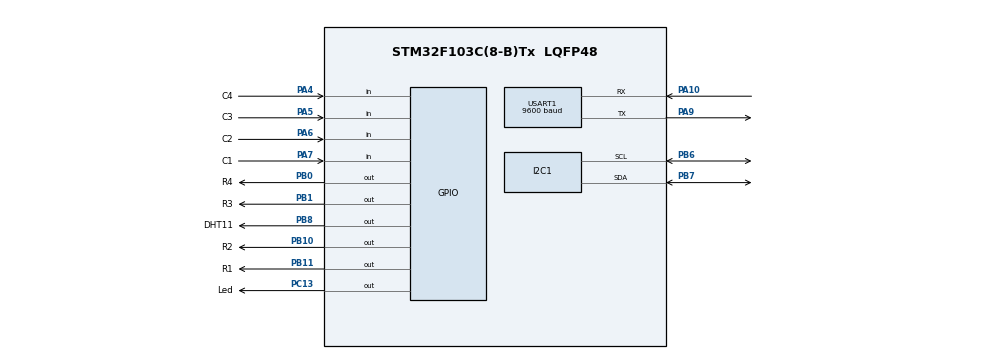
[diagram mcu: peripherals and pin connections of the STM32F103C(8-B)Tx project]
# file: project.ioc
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Mcu.Family=STM32F1
Mcu.Name=STM32F103C(8-B)Tx
Mcu.Package=LQFP48
NVIC.PriorityGroup=NVIC_PRIORITYGROUP_4
NVIC.TIM2_IRQn=true\:2\:0\:true\:false\:true\:true\:true\:true
NVIC.USART1_IRQn=true\:1\:0\:true\:false\:true\:true\:true\:true
PA10.Mode=Asynchronous
PA10.Signal=USART1_RX
PA13.Mode=Serial_Wire
PA13.Signal=SYS_JTMS-SWDIO
PA14.Mode=Serial_Wire
PA14.Signal=SYS_JTCK-SWCLK
PA4.GPIO_Label=C4
PA4.GPIO_PuPd=GPIO_PULLUP
PA4.Signal=GPIO_Input
PA5.GPIO_Label=C3
PA5.GPIO_PuPd=GPIO_PULLUP
PA5.Signal=GPIO_Input
PA6.GPIO_Label=C2
PA6.GPIO_PuPd=GPIO_PULLUP
PA6.Signal=GPIO_Input
PA7.GPIO_Label=C1
PA7.GPIO_PuPd=GPIO_PULLUP
PA7.Signal=GPIO_Input
PA9.Mode=Asynchronous
PA9.Signal=USART1_TX
PB0.GPIO_Label=R4
PB0.GPIO_ModeDefaultOutputPP=GPIO_MODE_OUTPUT_PP
PB0.GPIO_PuPd=GPIO_PULLUP
PB0.Signal=GPIO_Output
PB1.GPIO_Label=R3
PB1.GPIO_PuPd=GPIO_PULLUP
PB1.Signal=GPIO_Output
PB10.GPIO_Label=R2
PB10.GPIO_PuPd=GPIO_PULLUP
PB10.Signal=GPIO_Output
PB11.GPIO_Label=R1
PB11.GPIO_PuPd=GPIO_PULLUP
PB11.Signal=GPIO_Output
PB6.GPIO_Pu=GPIO_PULLUP
PB6.Mode=I2C
PB6.Signal=I2C1_SCL
PB7.GPIO_Pu=GPIO_PULLUP
PB7.Mode=I2C
PB7.Signal=I2C1_SDA
PB8.GPIO_Label=DHT11
PB8.GPIO_ModeDefaultOutputPP=GPIO_MODE_OUTPUT_PP
PB8.GPIO_PuPd=GPIO_PULLUP
PB8.PinState=GPIO_PIN_SET
PB8.Signal=GPIO_Output
PC13-TAMPER-RTC.GPIO_Label=Led
PC13-TAMPER-RTC.GPIO_ModeDefaultOutputPP=GPIO_MODE_OUTPUT_PP
PC13-TAMPER-RTC.GPIO_PuPd=GPIO_PULLUP
PC13-TAMPER-RTC.PinState=GPIO_PIN_SET
PC13-TAMPER-RTC.Signal=GPIO_Output
PD0-OSC_IN.Mode=HSE-External-Clock-Source
PD0-OSC_IN.Signal=RCC_OSC_IN
PD1-OSC_OUT.Mode=HSE-External-Clock-Source
PD1-OSC_OUT.Signal=RCC_OSC_OUT
ProjectManager.HeapSize=0x200
ProjectManager.StackSize=0x400
ProjectManager.TargetToolchain=MDK-ARM V5.27
RCC.APB1Freq_Value=8000000
RCC.APB2Freq_Value=8000000
RCC.SYSCLKSource=RCC_SYSCLKSOURCE_PLLCLK
TIM1.Period=0xFFFF-1
TIM1.Prescaler=7
TIM2.Period=499
TIM2.Prescaler=7999
USART1.BaudRate=9600
USART1.VirtualMode=VM_ASYNC
VP_TIM1_VS_ClockSourceINT.Mode=Internal
VP_TIM2_VS_ClockSourceINT.Mode=Internal
board=custom

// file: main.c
/* USER CODE BEGIN Header */
/**
  ******************************************************************************
  * @file           : main.c
  * @brief          : Main program body
  ******************************************************************************
  * @attention
  *
  * <h2><center>&copy; Copyright (c) 2021 STMicroelectronics.
  * All rights reserved.</center></h2>
  *
  * This software component is licensed by ST under BSD 3-Clause license,
  * the "License"; You may not use this file except in compliance with the
  * License. You may obtain a copy of the License at:
  *                        opensource.org/licenses/BSD-3-Clause
  *
  ******************************************************************************
  */
/* USER CODE END Header */
#include "main.h"
#include "i2c.h"
#include "tim.h"
#include "usart.h"
#include "gpio.h"

/* USER CODE BEGIN Includes */
#include "matrix4x4.h"
#include "LCD.h"
#include "Sim800L.h"
#include "dht.h"
/* USER CODE END Includes */

/* USER CODE BEGIN PD */
#define ADJUST 'A'
#define RESET 'B'
#define CORRECT 'C'
#define DELETE 'D'
/* USER CODE END PD */

/* USER CODE BEGIN PV */
extern CLCD_I2C_Name LCD1;
unsigned char button;

uint8_t Rh_byte1,Rh_byte2, Temp_byte1,Temp_byte2;
uint8_t SUM,RH,TEMP;
float Temperature ;
float Humidity;

uint16_t Rx_Data[1]; // bien chua du lieu tu flash
FLASH_EraseInitTypeDef EraseInitStruct; // struct cau hЛnh xСa du lieu
uint32_t PAGEError;  // bien chua dia chi loi

uint8_t StateLED;

uint8_t TempWarn =100;
char TempSet[4];
uint8_t count=0;
uint8_t SettingFlag= 0;

uint8_t StatusFlag =0;
uint8_t hold=0;

uint8_t KnewFlag=0;
uint16_t KnewCount =0;

/* USER CODE END PV */

void SystemClock_Config(void);
/* USER CODE BEGIN PFP */
char  Transfer_cplt2;
char Rx_Buffer2[SIMCOM_DATA_IN_MAX_SIZE];
/* USER CODE END PFP */

/* USER CODE BEGIN 0 */
void HAL_UART_RxCpltCallback(UART_HandleTypeDef *huart)
{
	if (huart-> Instance == USART1) // UART hien tai la uart1 SIM
	{
		simcom_receive_data_it();
	}
}
void DelLineLCD( char y)
{
	CLCD_I2C_SetCursor(&LCD1, 0, y);
	for (uint8_t i=0;i<20;i++)
	{
		CLCD_I2C_SetCursor(&LCD1, i, y);
		CLCD_I2C_WriteString(&LCD1," ");
	}
}
void SimWarn()
{
		if (Sim_init()==1)
		{
			if		(Sim_SendCommand("ATD0964121702;\r\n","OK",3000) == 1)
			{
					DelLineLCD(2);
					CLCD_I2C_SetCursor(&LCD1,0,2);
					CLCD_I2C_WriteString(&LCD1,"Status: Warning...");
					uint32_t time = HAL_GetTick();
					while (HAL_GetTick() - time < 30000)
					{
						if(strstr((char*)Rx_Buffer2,"BUSY")!=NULL)
						{
							DelLineLCD(2);
							CLCD_I2C_SetCursor(&LCD1,0,2);
							CLCD_I2C_WriteString(&LCD1,"Status: BUSY");
							break;
						}
						if(strstr((char*)Rx_Buffer2,"NO CARRIER")!=NULL)
						{
							DelLineLCD(2);
							CLCD_I2C_SetCursor(&LCD1,0,2);
							CLCD_I2C_WriteString(&LCD1,"Status: NO CARRIER");
							break;
						}
						if(strstr((char*)Rx_Buffer2,"NO ANSWER")!=NULL)
						{
							DelLineLCD(2);
							CLCD_I2C_SetCursor(&LCD1,0,2);
							CLCD_I2C_WriteString(&LCD1,"Status: NO ANSWER");
							break;
						}
						if(strstr((char*)Rx_Buffer2,"NO DIALTONE")!=NULL)
						{
							DelLineLCD(2);
							CLCD_I2C_SetCursor(&LCD1,0,2);
							CLCD_I2C_WriteString(&LCD1,"Status:NO DIALTONE");
							break;
						}
					}
					HAL_Delay(1000);
			}
		}
}
void ProcessButton()
{
	if (button==ADJUST)
	{
		CLCD_I2C_SetCursor(&LCD1,8,1);
		CLCD_I2C_BlinkOn(&LCD1);
		SettingFlag =1;
	}
	else if (button==DELETE)
	{
		if (count >0)
		{
			count--;
			TempSet[count]='\0';
			DelLineLCD(1);
			CLCD_I2C_SetCursor(&LCD1,0,1);
			CLCD_I2C_WriteString(&LCD1,"TempSet:");
			char *k=TempSet;
			CLCD_I2C_WriteString(&LCD1,k);
		}
	}
	else if (button==RESET)
	{
		count=0;
		for (uint8_t i=0; i<4;i++) TempSet[i]=0;
		DelLineLCD(1);
		CLCD_I2C_SetCursor(&LCD1,0,1);
		CLCD_I2C_WriteString(&LCD1,"TempSet:");
		DeleDatain();
	}
	else if (button==CORRECT)
	{
		if (count>0)
		{
			CLCD_I2C_BlinkOff(&LCD1);
			switch(count)
			{
				case 1: TempWarn = TempSet[0]-48; break;
				case 2: TempWarn = (TempSet[0]-48)*10+(TempSet[1]-48); break;
				case 3: TempWarn = (TempSet[0]-48)*100+(TempSet[1]-48)*10+TempSet[2]-48; break;
				default:	break;
			}
			CLCD_I2C_BlinkOff(&LCD1);
			SettingFlag=0;
		}
	}
	else
	{
		if ((SettingFlag==1)&&(count<=2))
		{
			CLCD_I2C_WriteChar(&LCD1,button);
			TempSet[count++]=button;
		}
	}
}
int SavetoFlash(void)
{
	HAL_FLASH_Unlock();
	EraseInitStruct.Banks = 1;
	EraseInitStruct.TypeErase  = FLASH_TYPEERASE_PAGES;
	EraseInitStruct.PageAddress = 0x08000000+1024*64; // dia chi page 64
	EraseInitStruct.NbPages    = 1;
	//xoa page
	if (HAL_FLASHEx_Erase(&EraseInitStruct, &PAGEError) != HAL_OK)
 {
   return HAL_FLASH_GetError (); // tr? v? l?i n?u khТng xСa thЮnh cТng
 }
	//ghi page
 if (HAL_FLASH_Program(FLASH_TYPEPROGRAM_HALFWORD, 0x08000000+1024*64,StateLED) != HAL_OK)
 {
   return HAL_FLASH_GetError ();
 }
	HAL_FLASH_Lock();
	return HAL_OK;
}
/* USER CODE END 0 */

int main(void)
{

  /* MCU Configuration--------------------------------------------------------*/

  /* Reset of all peripherals, Initializes the Flash interface and the Systick. */
  HAL_Init();

  /* Configure the system clock */
  SystemClock_Config();

  /* Initialize all configured peripherals */
  MX_GPIO_Init();
  MX_I2C1_Init();
  MX_USART1_UART_Init();
  MX_TIM1_Init();
  MX_TIM2_Init();
  /* USER CODE BEGIN 2 */
	CLCD_I2C_Init(&LCD1, &hi2c1, (0x27<<1),20,4);

	CLCD_I2C_Clear(&LCD1);
	CLCD_I2C_SetCursor(&LCD1, 0, 0);
	CLCD_I2C_WriteString(&LCD1, "Temp:");

	CLCD_I2C_SetCursor(&LCD1, 12, 0);
	CLCD_I2C_WriteString(&LCD1, "Hum:");

	CLCD_I2C_SetCursor(&LCD1, 0, 1);
	CLCD_I2C_WriteString(&LCD1, "TempSet:");

	CLCD_I2C_SetCursor(&LCD1, 0, 2);
	CLCD_I2C_WriteString(&LCD1,"Status: SAFE");
	Rx_Data[0] = *(__IO uint32_t *)(0x08000000+1024*64);
	if (Rx_Data[0]==1)
	{
		HAL_GPIO_WritePin(GPIOC,Led_Pin,0);
		StateLED=1;
		CLCD_I2C_SetCursor(&LCD1, 0, 3);
		CLCD_I2C_WriteString(&LCD1,"Led: On");
	}
	else if (Rx_Data[0]==0)
	{
		HAL_GPIO_WritePin(GPIOC,Led_Pin,1);
		StateLED=0;
		CLCD_I2C_SetCursor(&LCD1, 0, 3);
		CLCD_I2C_WriteString(&LCD1,"Led: Off");
	}
	HAL_TIM_Base_Start(&htim1);
	HAL_TIM_Base_Start_IT(&htim2);
	TurnUart();
  /* USER CODE END 2 */

  /* Infinite loop */
  /* USER CODE BEGIN WHILE */
  while (1)
  {
		DHT11();
		if (SettingFlag==1)
		{
			CLCD_I2C_BlinkOn(&LCD1);
			CLCD_I2C_SetCursor(&LCD1,8+count,1);
		}
		uint32_t time = HAL_GetTick();
		while (HAL_GetTick() - time <1500)
		{
			if (Temperature > TempWarn)
			{
				StatusFlag =1;
				if (KnewFlag==0)
					{
						hold =1;
						DelLineLCD(2);
						CLCD_I2C_SetCursor(&LCD1,0,2);
						CLCD_I2C_WriteString(&LCD1,"Status: TOO HOT");
						CLCD_I2C_SetCursor(&LCD1,8+count,1);
						SimWarn();
					}
					else
					{
						if (hold ==1)
						{
							DelLineLCD(2);
							CLCD_I2C_SetCursor(&LCD1,0,2);
							CLCD_I2C_WriteString(&LCD1,"Status: Knew");
							CLCD_I2C_SetCursor(&LCD1,8+count,1);
							hold=0;
						}
					}
			}
			else
			{
				 if (StatusFlag==1)
					 {
						 DelLineLCD(2);
						 CLCD_I2C_SetCursor(&LCD1, 0, 2);
						 CLCD_I2C_WriteString(&LCD1,"Status: SAFE");
						 CLCD_I2C_SetCursor(&LCD1,8+count,1);
						 StatusFlag=0;
					 }
		 }
			button = get_key();
		 if (button)
		 {
			 ProcessButton();
		 }

		}
    /* USER CODE END WHILE */

  }
}

void SystemClock_Config(void)
{
  RCC_OscInitTypeDef RCC_OscInitStruct = {0};
  RCC_ClkInitTypeDef RCC_ClkInitStruct = {0};

  /** Initializes the RCC Oscillators according to the specified parameters
  * in the RCC_OscInitTypeDef structure.
  */
  RCC_OscInitStruct.OscillatorType = RCC_OSCILLATORTYPE_HSI;
  RCC_OscInitStruct.HSIState = RCC_HSI_ON;
  RCC_OscInitStruct.HSICalibrationValue = RCC_HSICALIBRATION_DEFAULT;
  RCC_OscInitStruct.PLL.PLLState = RCC_PLL_ON;
  RCC_OscInitStruct.PLL.PLLSource = RCC_PLLSOURCE_HSI_DIV2;
  RCC_OscInitStruct.PLL.PLLMUL = RCC_PLL_MUL2;
  if (HAL_RCC_OscConfig(&RCC_OscInitStruct) != HAL_OK)
  {
    Error_Handler();
  }

  /** Initializes the CPU, AHB and APB buses clocks
  */
  RCC_ClkInitStruct.ClockType = RCC_CLOCKTYPE_HCLK|RCC_CLOCKTYPE_SYSCLK
                              |RCC_CLOCKTYPE_PCLK1|RCC_CLOCKTYPE_PCLK2;
  RCC_ClkInitStruct.SYSCLKSource = RCC_SYSCLKSOURCE_PLLCLK;
  RCC_ClkInitStruct.AHBCLKDivider = RCC_SYSCLK_DIV1;
  RCC_ClkInitStruct.APB1CLKDivider = RCC_HCLK_DIV1;
  RCC_ClkInitStruct.APB2CLKDivider = RCC_HCLK_DIV1;

  if (HAL_RCC_ClockConfig(&RCC_ClkInitStruct, FLASH_LATENCY_0) != HAL_OK)
  {
    Error_Handler();
  }
}

/* USER CODE BEGIN 4 */
void HAL_TIM_PeriodElapsedCallback(TIM_HandleTypeDef *htim)
{
if (htim->Instance==htim2.Instance)
	{
		if(get_key()=='*')
		{
				SavetoFlash();
				NVIC_SystemReset();
		}
		if(strstr((char*)Rx_Buffer2,"LedOn")!=NULL)
		{
			HAL_GPIO_WritePin(GPIOC,Led_Pin,0);
			StateLED=1;
			DelLineLCD(3);
			CLCD_I2C_SetCursor(&LCD1,0,3);
			CLCD_I2C_WriteString(&LCD1,"Led: On");
			DeleDatain();
			CLCD_I2C_SetCursor(&LCD1,8+count,1);
			SavetoFlash();
		}
		if(strstr((char*)Rx_Buffer2,"LedOff")!=NULL)
		{
			HAL_GPIO_WritePin(GPIOC,Led_Pin,1);
			StateLED=0;
			DelLineLCD(3);
			CLCD_I2C_SetCursor(&LCD1,0,3);
			CLCD_I2C_WriteString(&LCD1,"Led: Off");
			DeleDatain();
			CLCD_I2C_SetCursor(&LCD1,8+count,1);
			SavetoFlash();
		}
		if(strstr((char*)Rx_Buffer2,"Knew")!=NULL)
		{
			KnewFlag = 1;
			DelLineLCD(2);
			CLCD_I2C_SetCursor(&LCD1,0,2);
			CLCD_I2C_WriteString(&LCD1,"Status: Knew");
			DeleDatain();
			CLCD_I2C_SetCursor(&LCD1,8+count,1);
		}
		if (KnewFlag==1) KnewCount++;
		if (KnewCount==360) { KnewFlag=0; KnewCount=0;}

	}
}
/* USER CODE END 4 */

void Error_Handler(void)
{
  __disable_irq();
  while (1)
  {
  }
}
